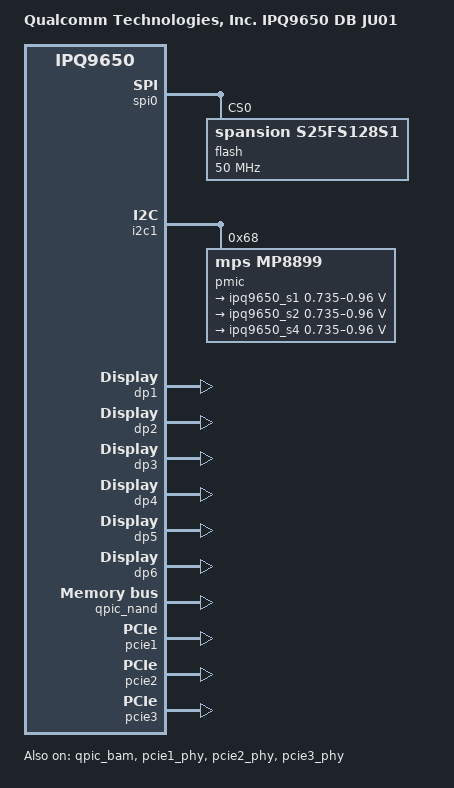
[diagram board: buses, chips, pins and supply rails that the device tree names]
// SPDX-License-Identifier: (GPL-2.0+ OR BSD-3-Clause)
/*
 * IPQ9650 DB JU01 board device tree source
 *
 * Copyright (c) 2020-2021 The Linux Foundation. All rights reserved.
 * Copyright (c) Qualcomm Technologies, Inc. and/or its subsidiaries.
 */

/dts-v1/;

#include "ipq9650-rdp-common.dtsi"

/ {
	model = "Qualcomm Technologies, Inc. IPQ9650 DB JU01";
	compatible = "qcom,ipq9650-db-ju01", "qcom,ipq9650";

	aliases {
		ethernet0 = "/soc/dp1";
		ethernet1 = "/soc/dp2";
		ethernet2 = "/soc/dp3";
		ethernet3 = "/soc/dp4";
		ethernet4 = "/soc/dp5";
		ethernet5 = "/soc/dp6";
	};

	soc@0 {
		qupv3: geniqup@1ac0000 {
			status = "okay";

			spi0: spi@1a80000 {
				pinctrl-0 = <&qup_spi0_default>;
				pinctrl-names = "default";
				status = "okay";

				flash@0 {
					compatible = "spansion,s25fs128s1", "jedec,spi-nor";
					#address-cells = <1>;
					#size-cells = <1>;
					reg = <0>;
					spi-max-frequency = <50000000>;
				};
			};

			i2c0: i2c@1a88000 {
				pinctrl-0 = <&qup_i2c0_default>;
				pinctrl-names = "default";
				status = "disabled";
			};

			i2c1: i2c@1a8c000 {
				pinctrl-0 = <&qup_i2c1_default>;
				pinctrl-names = "default";
				status = "okay";

				pmic@68 {
					compatible = "mps,mp8899";
					reg = <0x68>;

					regulators {
						/* APC_CX */
						ipq9650_s1: buck1 {
							regulator-name = "buck1";
							regulator-min-microvolt = <735000>;
							regulator-max-microvolt = <960000>;
							regulator-always-on;
							regulator-boot-on;
						};

						/* NSP_CX */
						ipq9650_s2: buck2 {
							regulator-name = "buck2";
							regulator-min-microvolt = <735000>;
							regulator-max-microvolt = <960000>;
						};

						/* NSP_MX */
						ipq9650_s4: buck4 {
							regulator-name = "buck4";
							regulator-min-microvolt = <735000>;
							regulator-max-microvolt = <960000>;
						};
					};
				};
			};
		};

		dp1 {
			device_type = "network";
			compatible = "qcom,nss-dp";
			qcom,id = <1>;
			reg = <0x2a500000 0x4000>;
			qcom,mactype = <1>;
			local-mac-address = [000000000000];
			qcom,ppe-offload-disabled = <0>;
		};

		dp2 {
			device_type = "network";
			compatible = "qcom,nss-dp";
			qcom,id = <2>;
			reg = <0x2a504000 0x4000>;
			qcom,mactype = <1>;
			local-mac-address = [000000000000];
			qcom,ppe-offload-disabled = <0>;
		};

		dp3 {
			device_type = "network";
			compatible = "qcom,nss-dp";
			qcom,id = <3>;
			reg = <0x2a508000 0x4000>;
			qcom,mactype = <1>;
			local-mac-address = [000000000000];
			qcom,ppe-offload-disabled = <0>;
		};

		dp4 {
			device_type = "network";
			compatible = "qcom,nss-dp";
			qcom,id = <4>;
			reg = <0x2a50c000 0x4000>;
			qcom,mactype = <1>;
			local-mac-address = [000000000000];
			qcom,ppe-offload-disabled = <0>;
		};

		dp5 {
			device_type = "network";
			compatible = "qcom,nss-dp";
			qcom,id = <5>;
			reg = <0x2a510000 0x4000>;
			qcom,mactype = <1>;
			local-mac-address = [000000000000];
			qcom,ppe-offload-disabled = <0>;
		};

		dp6 {
			device_type = "network";
			compatible = "qcom,nss-dp";
			qcom,id = <6>;
			reg = <0x2a514000 0x4000>;
			qcom,mactype = <1>;
			local-mac-address = [000000000000];
			qcom,ppe-offload-disabled = <0>;
		};
	};
};

&mdio {
	phy-reset-gpio = <&tlmm 18 GPIO_ACTIVE_LOW>; /* Reset for QCE1204. */
};

&ess_switch {
	pinctrl-0 = <&sfp_pins>;
	pinctrl-names = "default";

	switch_mac_mode1 = <0x18>; /* mac mode for uniphy instance1 */
	switch_mac_mode2 = <0x18>; /* mac mode for uniphy instance2 */

	qcom,port_phyinfo {
		port@4 {
			port_id = <5>;
			forced-speed = <25000>;
			forced-duplex = <1>;
			fixed-link {
				speed = <25000>;
				full-duplex;
				pause;
			};
		};

		port@5 {
			port_id = <6>;
			forced-speed = <25000>;
			forced-duplex = <1>;
			fixed-link {
				speed = <25000>;
				full-duplex;
				pause;
			};
		};
	};
};

&qpic_bam {
	status = "okay";
};

&qpic_nand {
	status = "okay";
};

&sdhc {
	max-frequency = <192000000>;
	bus-width = <4>;
	mmc-ddr-1_8v;
	mmc-hs200-1_8v;
	non-removable;
	pinctrl-0 = <&sdc_default_state>;
	pinctrl-names = "default";
	status = "disabled";
};

&pcie1_phy {
	status = "okay";
};

&pcie1 {
	perst-gpio = <&tlmm 28 GPIO_ACTIVE_LOW>;
	status = "okay";

	pcie1_rp {
		reg = <0 0 0 0 0>;

		qcom,mhi@0 {
			reg = <0 0 0 0 0>;
		};
	};
};

&pcie2_phy {
	status = "okay";
};

&pcie2 {
	perst-gpio = <&tlmm 52 GPIO_ACTIVE_LOW>;
	status = "okay";

	pcie2_rp {
		reg = <0 0 0 0 0>;

		qcom,mhi@0 {
			reg = <0 0 0 0 0>;
		};
	};
};

&pcie3_phy {
	status = "okay";
};

&pcie3 {
	perst-gpio = <&tlmm 41 GPIO_ACTIVE_LOW>;
	status = "okay";

	pcie3_rp {
		reg = <0 0 0 0 0>;

		qcom,mhi@0 {
			reg = <0 0 0 0 0>;
		};
	};
};

&qusb_phy_1 {
	status = "disabled";
};

&usb2 {
	status = "disabled";
};

&qusb_phy_0 {
	status = "disabled";
};

&ssphy_0 {
	status = "disabled";
};

&usb3 {
	status = "disabled";
};

&tlmm {
	qup_i2c0_default: qup-i2c0-default-state {
		qup_i2c0_scl {
			pins = "gpio33";
			function = "qup_se2_l1";
			drive-strength = <8>;
			bias-pull-up;
		};
		qup_i2c0_sda {
			pins = "gpio34";
			function = "qup_se2_l0";
			drive-strength = <8>;
			bias-pull-up;
		};
	};

	pcie0_default_state: pcie0-default-state {
		perst-n-pins {
			pins = "gpio25";
			function = "gpio";
			drive-strength = <8>;
			bias-pull-down;
			output-low;
		};
	};

	pcie1_default_state: pcie1-default-state {
		perst-n-pins {
			pins = "gpio28";
			function = "gpio";
			drive-strength = <8>;
			bias-pull-down;
			output-low;
		};
	};

	pcie2_default_state: pcie2-default-state {
		perst-n-pins {
			pins = "gpio52";
			function = "gpio";
			drive-strength = <8>;
			bias-pull-down;
			output-low;
		};
	};

	pcie3_default_state: pcie3-default-state {
		perst-n-pins {
			pins = "gpio41";
			function = "gpio";
			drive-strength = <8>;
			bias-pull-down;
			output-low;
		};
	};

	pcie4_default_state: pcie4-default-state {
		perst-n-pins {
			pins = "gpio31";
			function = "gpio";
			drive-strength = <8>;
			bias-pull-down;
			output-low;
		};
	};

	sdc_default_state: sdc-default-state {
		clk-pins {
			pins = "gpio5";
			function = "sdc_clk";
			drive-strength = <8>;
			bias-disable;
		};

		cmd-pins {
			pins = "gpio4";
			function = "sdc_cmd";
			drive-strength = <8>;
			bias-pull-up;
		};

		data-pins {
			pins = "gpio0", "gpio1", "gpio2", "gpio3";
			function = "sdc_data";
			drive-strength = <8>;
			bias-pull-up;
		};
	};

	sfp_pins: sfp-state {
		sfp1_rx {
			pins = "gpio46";
			function = "rx_los10";
			bias-disable;
		};

		sfp1_tx {
			pins = "gpio15";
			function = "gpio";
			drive-strength = <8>;
			bias-pull-down;
			output-low;
		};

		sfp2_rx {
			pins = "gpio45";
			function = "rx_los20";
			bias-disable;
		};

		sfp2_tx {
			pins = "gpio14";
			function = "gpio";
			drive-strength = <8>;
			bias-pull-down;
			output-low;
		};
	};
};

&ess_uniphy {
	assigned-clocks = <&cmn_pll IPQ9650_PCS0_CLK>,
			  <&cmn_pll IPQ9650_PCS1_CLK>,
			  <&cmn_pll IPQ9650_PCS2_CLK>;
	assigned-clock-rates = <31250000>,
			       <46875000>,
			       <46875000>;
};

&CPU0 {
	cpu-supply = <&ipq9650_s1>;
};

&CPU1 {
	cpu-supply = <&ipq9650_s1>;
};

&CPU2 {
	cpu-supply = <&ipq9650_s1>;
};

&CPU3 {
	cpu-supply = <&ipq9650_s1>;
};

&CPU4 {
	cpu-supply = <&ipq9650_s1>;
};

&remoteproc_cdsp {
	cx-supply = <&ipq9650_s2>;
	mx-supply = <&ipq9650_s4>;
	/delete-property/ cx-supply;
	/delete-property/ mx-supply;
};
